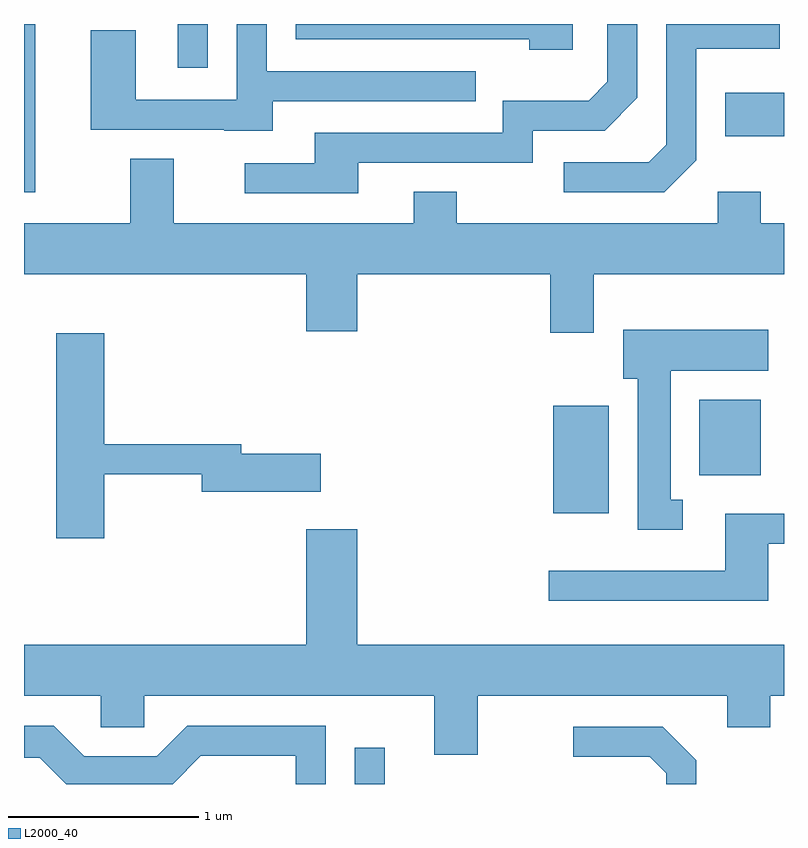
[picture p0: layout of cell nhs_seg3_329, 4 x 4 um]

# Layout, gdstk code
import gdstk
lib = gdstk.Library(unit=1e-6, precision=1e-09)
def R(c, l, rs):  # rectangles x0, y0, x1, y1
    for r in rs: c.add(gdstk.rectangle(r[:2], r[2:], *l))
def P(c, l, *ps):  # polygons
    for p in ps: c.add(gdstk.Polygon(p, *l))
L2000_40 = (2000, 40)

nhs_seg3_329 = lib.new_cell('nhs_seg3_329')
R(nhs_seg3_329, L2000_40, [(195.351,1229.892,195.509,1230.083), (196.396,1231.316,196.689,1231.884), (197.166,1231.516,197.489,1231.914), (193.611,1233.006,193.669,1233.892), (197.301,1233.301,197.611,1233.529), (194.421,1233.663,194.579,1233.892)])
P(nhs_seg3_329, L2000_40, [(197.149,1233.174),(197.149,1233.761),(197.589,1233.761),(197.589,1233.892),(196.991,1233.892),(196.991,1233.257),(196.899,1233.164),(196.453,1233.164),(196.453,1233.006),(196.982,1233.006)],
  [(196.499,1233.892),(195.041,1233.892),(195.041,1233.811),(196.271,1233.811),(196.271,1233.756),(196.499,1233.756)],
  [(195.369,1233.161),(196.289,1233.161),(196.289,1233.331),(196.667,1233.331),(196.839,1233.504),(196.839,1233.892),(196.681,1233.892),(196.681,1233.587),(196.584,1233.489),(196.131,1233.489),(196.131,1233.319),(195.141,1233.319),(195.141,1233.159),(194.773,1233.159),(194.773,1233.001),(195.369,1233.001)],
  [(194.919,1233.486),(195.988,1233.486),(195.988,1233.644),(194.889,1233.644),(194.889,1233.892),(194.731,1233.892),(194.731,1233.494),(194.199,1233.494),(194.199,1233.859),(193.961,1233.859),(193.961,1233.336),(194.665,1233.336),(194.665,1233.331),(194.919,1233.331)],
  [(196.609,1232.576),(197.611,1232.576),(197.611,1232.844),(197.489,1232.844),(197.489,1233.009),(197.261,1233.009),(197.261,1232.844),(195.889,1232.844),(195.889,1233.009),(195.661,1233.009),(195.661,1232.844),(194.399,1232.844),(194.399,1233.184),(194.171,1233.184),(194.171,1232.844),(193.611,1232.844),(193.611,1232.576),(195.096,1232.576),(195.096,1232.276),(195.364,1232.276),(195.364,1232.576),(196.381,1232.576),(196.381,1232.266),(196.609,1232.266)],
  [(197.078,1231.389),(197.014,1231.389),(197.014,1232.066),(197.529,1232.066),(197.529,1232.284),(196.766,1232.284),(196.766,1232.026),(196.841,1232.026),(196.841,1231.231),(197.078,1231.231)],
  [(194.034,1231.521),(194.546,1231.521),(194.546,1231.431),(195.174,1231.431),(195.174,1231.629),(194.754,1231.629),(194.754,1231.679),(194.034,1231.679),(194.034,1232.264),(193.781,1232.264),(193.781,1231.186),(194.034,1231.186)],
  [(197.529,1231.156),(197.611,1231.156),(197.611,1231.314),(197.301,1231.314),(197.301,1231.014),(196.373,1231.014),(196.373,1230.856),(197.529,1230.856)],
  [(195.999,1230.356),(197.311,1230.356),(197.311,1230.191),(197.539,1230.191),(197.539,1230.356),(197.611,1230.356),(197.611,1230.624),(195.364,1230.624),(195.364,1231.234),(195.096,1231.234),(195.096,1230.624),(193.611,1230.624),(193.611,1230.356),(194.016,1230.356),(194.016,1230.191),(194.244,1230.191),(194.244,1230.356),(195.771,1230.356),(195.771,1230.046),(195.999,1230.046)],
  [(194.542,1230.041),(195.041,1230.041),(195.041,1229.892),(195.199,1229.892),(195.199,1230.199),(194.469,1230.199),(194.309,1230.039),(193.927,1230.039),(193.767,1230.199),(193.611,1230.199),(193.611,1230.031),(193.694,1230.031),(193.833,1229.892),(194.393,1229.892)],
  [(197.149,1230.017),(196.972,1230.194),(196.503,1230.194),(196.503,1230.036),(196.904,1230.036),(196.991,1229.949),(196.991,1229.892),(197.149,1229.892)])

lib.write_gds('nhs_seg3_329.gds')
